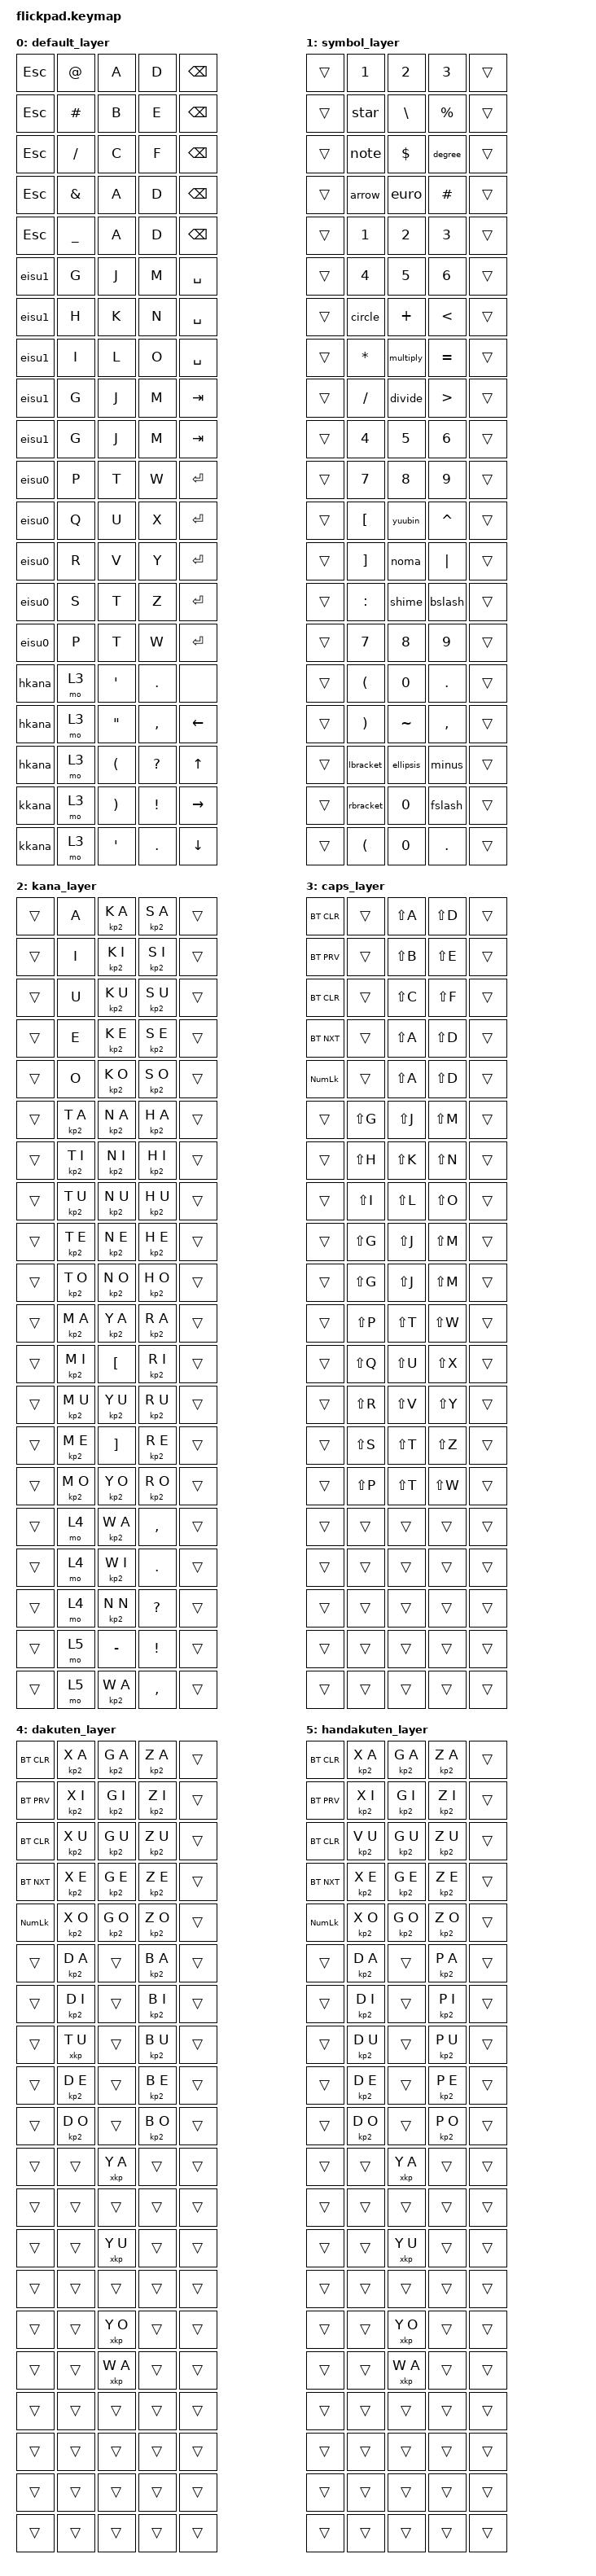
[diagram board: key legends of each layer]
#include <behaviors.dtsi>
#include <dt-bindings/zmk/keys.h>
#include <dt-bindings/zmk/bt.h>

/ {
    macros {
        ZMK_MACRO(hkana,
            bindings = <&to 2 &kp LC(CAPS)>;
        )

        ZMK_MACRO(kkana,
            bindings = <&to 2 &kp LA(CAPS)>;
        )

        ZMK_MACRO(eisu0,
            bindings = <&to 0 &kp LC(CAPS) &kp LS(CAPS)>;
        )

        ZMK_MACRO(eisu1,
            bindings = <&to 1 &kp LC(CAPS)>;
        )

        kp2: kp2 {
            compatible = "zmk,behavior-macro-two-param";
            tap-ms = <40>;
            #binding-cells = <2>;
            bindings
                = <&macro_param_1to1>
                , <&kp MACRO_PLACEHOLDER>
                , <&macro_param_2to1>
		, <&kp MACRO_PLACEHOLDER>;
        };

        xkp: xkp {
            compatible = "zmk,behavior-macro-two-param";
            tap-ms = <40>;
            #binding-cells = <2>;
            bindings
                = <&kp X>
		, <&macro_param_1to1>
                , <&kp MACRO_PLACEHOLDER>
                , <&macro_param_2to1>
		, <&kp MACRO_PLACEHOLDER>;
        };

        ZMK_MACRO(star,
            wait-ms = <40>;
            tap-ms = <40>;
            bindings
                = <&macro_press   &kp LALT>
                , <&macro_tap     &kp KP_N9 &kp KP_N7 &kp KP_N3 &kp KP_N3>
                , <&macro_release &kp LALT>
                ;
        )

        ZMK_MACRO(note,
            wait-ms = <40>;
            tap-ms = <40>;
            bindings
                = <&macro_press   &kp LALT>
                , <&macro_tap     &kp KP_N1 &kp KP_N3>
                , <&macro_release &kp LALT>
                ;
        )

        ZMK_MACRO(arrow,
            wait-ms = <40>;
            tap-ms = <40>;
            bindings
                = <&macro_press   &kp LALT>
                , <&macro_tap     &kp KP_N2 &kp KP_N6>
                , <&macro_release &kp LALT>
                ;
        )

        ZMK_MACRO(euro,
            wait-ms = <40>;
            tap-ms = <40>;
            bindings
                = <&macro_press   &kp LALT>
                , <&macro_tap     &kp KP_N0 &kp KP_N1 &kp KP_N2 &kp KP_N8>
                , <&macro_release &kp LALT>
                ;
        )

        ZMK_MACRO(degree,
            wait-ms = <40>;
            tap-ms = <40>;
            bindings
                = <&macro_press   &kp LALT>
                , <&macro_tap     &kp KP_N0 &kp KP_N1 &kp KP_N7 &kp KP_N6>
                , <&macro_release &kp LALT>
                ;
        )

        ZMK_MACRO(circle,
            wait-ms = <40>;
            tap-ms = <40>;
            bindings
                = <&macro_press   &kp LALT>
                , <&macro_tap     &kp KP_N9>
                , <&macro_release &kp LALT>
                ;
        )

        ZMK_MACRO(multiply,
            wait-ms = <40>;
            tap-ms = <40>;
            bindings
                = <&macro_press   &kp LALT>
                , <&macro_tap     &kp KP_N0 &kp KP_N2 &kp KP_N1 &kp KP_N5>
                , <&macro_release &kp LALT>
                ;
        )

        ZMK_MACRO(divide,
            wait-ms = <40>;
            tap-ms = <40>;
            bindings
                = <&macro_press   &kp LALT>
                , <&macro_tap     &kp KP_N0 &kp KP_N2 &kp KP_N4 &kp KP_N7>
                , <&macro_release &kp LALT>
                ;
        )

        ZMK_MACRO(yuubin,
            wait-ms = <40>;
            tap-ms = <40>;
            bindings = <&kp Y &kp U &kp U &kp B &kp I &kp N &kp N &kp SPACE>;
        )

        ZMK_MACRO(noma,
            wait-ms = <40>;
            tap-ms = <40>;
            bindings = <&kp O &kp N &kp A &kp J &kp I &kp SPACE>;
        )

        ZMK_MACRO(shime,
            wait-ms = <40>;
            tap-ms = <40>;
            bindings = <&kp S &kp H &kp I &kp M &kp E &kp SPACE>;
        )

        ZMK_MACRO(bslash,
            wait-ms = <40>;
            tap-ms = <40>;
            bindings
                = <&macro_press   &kp LALT>
                , <&macro_tap     &kp KP_N9 &kp KP_N2>
                , <&macro_release &kp LALT>
                ;
        )

        ZMK_MACRO(lbracket,
            wait-ms = <40>;
            tap-ms = <40>;
            bindings
                = <&macro_press   &kp LALT>
                , <&macro_tap     &kp KP_N9 &kp KP_N1>
                , <&macro_release &kp LALT>
                ;
        )

        ZMK_MACRO(rbracket,
            wait-ms = <40>;
            tap-ms = <40>;
            bindings
                = <&macro_press   &kp LALT>
                , <&macro_tap     &kp KP_N9 &kp KP_N3>
                , <&macro_release &kp LALT>
                ;
        )

        ZMK_MACRO(ellipsis,
            wait-ms = <40>;
            tap-ms = <40>;
            bindings
                = <&macro_press   &kp LALT>
                , <&macro_tap     &kp KP_N0 &kp KP_N1 &kp KP_N3 &kp KP_N3>
                , <&macro_release &kp LALT>
                ;
        )

        ZMK_MACRO(minus,
            wait-ms = <40>;
            tap-ms = <40>;
            bindings
                = <&macro_press   &kp LALT>
                , <&macro_tap     &kp KP_N4 &kp KP_N5>
                , <&macro_release &kp LALT>
                ;
        )

        ZMK_MACRO(fslash,
            wait-ms = <40>;
            tap-ms = <40>;
            bindings
                = <&macro_press   &kp LALT>
                , <&macro_tap     &kp KP_N4 &kp KP_N7>
                , <&macro_release &kp LALT>
                ;
        )
    };

    keymap {
        compatible = "zmk,keymap";

        default_layer {
            // -----------------------------------
            // |   ESC |   @ |   A |   D |  BSPC |
            // |   ESC |   # |   B |   E |  BSPC | <
            // |   ESC |   / |   C |   F |  BSPC | ^
            // |   ESC |   & |     |     |  BSPC | >
            // |   ESC |   _ |     |     |  BSPC | V
            // -----------------------------------
            // | EISU1 |   G |   J |   M | SPACE |
            // | EISU1 |   H |   K |   N | SPACE | <
            // | EISU1 |   I |   L |   O | SPACE | ^
            // | EISU1 |     |     |     |   TAB | >
            // | EISU1 |     |     |     |   TAB | V
            // -----------------------------------
            // | EISU0 |   P |   T |   W | ENTER |
            // | EISU0 |   Q |   U |   X | ENTER | <
            // | EISU0 |   R |   V |   Y | ENTER | ^
            // | EISU0 |   S |     |   Z | ENTER | >
            // | EISU0 |     |     |     | ENTER | V
            // -----------------------------------
            // | HKANA |   3 |   ' |   . |       |
            // | HKANA |   3 |   " |   , |  LEFT | <
            // | HKANA |   3 |   ( |   ? |    UP | ^
            // | KKANA |   4 |   ) |   ! | RIGHT | >
            // | KKANA |   4 |     |     |  DOWN | V
            // -----------------------------------
            bindings = <
                &kp ESC   &kp AT    &kp A     &kp D     &kp BSPC
                &kp ESC   &kp POUND &kp B     &kp E     &kp BSPC
                &kp ESC   &kp FSLH  &kp C     &kp F     &kp BSPC
                &kp ESC   &kp AMPS  &kp A     &kp D     &kp BSPC
                &kp ESC   &kp UNDER &kp A     &kp D     &kp BSPC

                &eisu1    &kp G     &kp J     &kp M     &kp SPACE
                &eisu1    &kp H     &kp K     &kp N     &kp SPACE
                &eisu1    &kp I     &kp L     &kp O     &kp SPACE
                &eisu1    &kp G     &kp J     &kp M     &kp TAB
                &eisu1    &kp G     &kp J     &kp M     &kp TAB

                &eisu0    &kp P     &kp T     &kp W     &kp RET
                &eisu0    &kp Q     &kp U     &kp X     &kp RET
                &eisu0    &kp R     &kp V     &kp Y     &kp RET
                &eisu0    &kp S     &kp T     &kp Z     &kp RET
                &eisu0    &kp P     &kp T     &kp W     &kp RET

                &hkana    &mo 3     &kp SQT   &kp DOT   &none
                &hkana    &mo 3     &kp DQT   &kp COMMA &kp LEFT
                &hkana    &mo 3     &kp LPAR  &kp QMARK &kp UP
                &kkana    &mo 3     &kp RPAR  &kp EXCL  &kp RIGHT
                &kkana    &mo 3     &kp SQT   &kp DOT   &kp DOWN
            >;
        };

        symbol_layer {
            // -----------------------------------
            // |   ESC |   1 |   2 |   3 |  BSPC |
            // |   ESC | STR | YEN |   % |  BSPC | <
            // |   ESC | NOT |   $ | DEG |  BSPC | ^
            // |   ESC |  -> | EUR |   # |  BSPC | >
            // |   ESC |     |     |     |  BSPC | V
            // -----------------------------------
            // | EISU1 |   4 |   5 |   6 | SPACE |
            // | EISU1 |   O |   + |   < | SPACE | <
            // | EISU1 |   * |   x |   = | SPACE | ^
            // | EISU1 |   . | DIV |   > |   TAB | >
            // | EISU1 |     |     |     |   TAB | V
            // -----------------------------------
            // | EISU0 |   7 |   8 |   9 | ENTER |
            // | EISU0 |   [ |   T |   ^ | ENTER | <
            // | EISU0 |   ] | NMA |   | | ENTER | ^
            // | EISU0 |   : | SME |   \ | ENTER | >
            // | EISU0 |     |     |     | ENTER | V
            // -----------------------------------
            // | HKANA |   ( |   0 |   . |       |
            // | HKANA |   ) |   ~ |   , |  LEFT | <
            // | HKANA |   [ | ... |   - |    UP | ^
            // | KKANA |   ] |     |   / | RIGHT | >
            // | KKANA |     |     |     |  DOWN | V
            // -----------------------------------
            bindings = <
                &trans    &kp N1    &kp N2    &kp N3    &trans
                &trans    &star     &kp BSLH  &kp PRCNT &trans
                &trans    &note     &kp DLLR  &degree   &trans
                &trans    &arrow    &euro     &kp POUND &trans
                &trans    &kp N1    &kp N2    &kp N3    &trans

                &trans    &kp N4    &kp N5    &kp N6    &trans
                &trans    &circle   &kp PLUS  &kp LT    &trans
                &trans    &kp STAR  &multiply &kp EQUAL &trans
                &trans    &kp FSLH  &divide   &kp GT    &trans
                &trans    &kp N4    &kp N5    &kp N6    &trans

                &trans    &kp N7    &kp N8    &kp N9    &trans
                &trans    &kp LBKT  &yuubin   &kp CARET &trans
                &trans    &kp RBKT  &noma     &kp PIPE  &trans
                &trans    &kp COLON &shime    &bslash   &trans
                &trans    &kp N7    &kp N8    &kp N9    &trans

                &trans    &kp LPAR  &kp N0    &kp DOT   &trans
                &trans    &kp RPAR  &kp TILDE &kp COMMA &trans
                &trans    &lbracket &ellipsis &minus    &trans
                &trans    &rbracket &kp N0    &fslash   &trans
                &trans    &kp LPAR  &kp N0    &kp DOT   &trans
            >;
        };

        kana_layer {
            // -----------------------------------
            // |   ESC |   A |  KA |  SA |  BSPC |
            // |   ESC |   I |  KI | SHI |  BSPC | <
            // |   ESC |   U |  KU |  SU |  BSPC | ^
            // |   ESC |   E |  KE |  SE |  BSPC | >
            // |   ESC |   O |  KO |  SO |  BSPC | V
            // -----------------------------------
            // | EISU1 |  TA |  NA |  HA | SPACE |
            // | EISU1 | CHI |  NI |  HI | SPACE | <
            // | EISU1 | TSU |  NU |  FU | SPACE | ^
            // | EISU1 |  TE |  NE |  HE |   TAB | >
            // | EISU1 |  TO |  NO |  HO |   TAB | V
            // -----------------------------------
            // | EISU0 |  MA |  YA |  RA | ENTER |
            // | EISU0 |  MI |   [ |  RI | ENTER | <
            // | EISU0 |  MU |  YU |  RU | ENTER | ^
            // | EISU0 |  ME |   ] |  RE | ENTER | >
            // | EISU0 |  MO |  YO |  RO | ENTER | V
            // -----------------------------------
            // | HKANA |   3 |  WA |   , |       |
            // | HKANA |   3 |  WO |   . |  LEFT | <
            // | HKANA |   3 |   N |   ? |    UP | ^
            // | KKANA |   4 |   - |   ! | RIGHT | >
            // | KKANA |   4 |     |     |  DOWN | V
            // -----------------------------------
            bindings = <
                &trans    &kp A     &kp2 K A  &kp2 S A  &trans
                &trans    &kp I     &kp2 K I  &kp2 S I  &trans
                &trans    &kp U     &kp2 K U  &kp2 S U  &trans
                &trans    &kp E     &kp2 K E  &kp2 S E  &trans
                &trans    &kp O     &kp2 K O  &kp2 S O  &trans

                &trans    &kp2 T A  &kp2 N A  &kp2 H A  &trans
                &trans    &kp2 T I  &kp2 N I  &kp2 H I  &trans
                &trans    &kp2 T U  &kp2 N U  &kp2 H U  &trans
                &trans    &kp2 T E  &kp2 N E  &kp2 H E  &trans
                &trans    &kp2 T O  &kp2 N O  &kp2 H O  &trans

                &trans    &kp2 M A  &kp2 Y A  &kp2 R A  &trans
                &trans    &kp2 M I  &kp LBKT  &kp2 R I  &trans
                &trans    &kp2 M U  &kp2 Y U  &kp2 R U  &trans
                &trans    &kp2 M E  &kp RBKT  &kp2 R E  &trans
                &trans    &kp2 M O  &kp2 Y O  &kp2 R O  &trans

                &trans    &mo 4     &kp2 W A  &kp COMMA &trans
                &trans    &mo 4     &kp2 W I  &kp DOT   &trans
                &trans    &mo 4     &kp2 N N  &kp QMARK &trans
                &trans    &mo 5     &kp MINUS &kp EXCL  &trans
                &trans    &mo 5     &kp2 W A  &kp COMMA &trans
            >;
        };

        caps_layer {
            bindings = <
                &bt BT_CLR &trans   &kp LS(A) &kp LS(D) &trans
                &bt BT_PRV &trans   &kp LS(B) &kp LS(E) &trans
                &bt BT_CLR &trans   &kp LS(C) &kp LS(F) &trans
                &bt BT_NXT &trans   &kp LS(A) &kp LS(D) &trans
                &kp KP_NUM &trans   &kp LS(A) &kp LS(D) &trans

                &trans    &kp LS(G) &kp LS(J) &kp LS(M) &trans
                &trans    &kp LS(H) &kp LS(K) &kp LS(N) &trans
                &trans    &kp LS(I) &kp LS(L) &kp LS(O) &trans
                &trans    &kp LS(G) &kp LS(J) &kp LS(M) &trans
                &trans    &kp LS(G) &kp LS(J) &kp LS(M) &trans

                &trans    &kp LS(P) &kp LS(T) &kp LS(W) &trans
                &trans    &kp LS(Q) &kp LS(U) &kp LS(X) &trans
                &trans    &kp LS(R) &kp LS(V) &kp LS(Y) &trans
                &trans    &kp LS(S) &kp LS(T) &kp LS(Z) &trans
                &trans    &kp LS(P) &kp LS(T) &kp LS(W) &trans

                &trans    &trans    &trans    &trans    &trans
                &trans    &trans    &trans    &trans    &trans
                &trans    &trans    &trans    &trans    &trans
                &trans    &trans    &trans    &trans    &trans
                &trans    &trans    &trans    &trans    &trans
            >;
        };

        dakuten_layer {
            bindings = <
                &bt BT_CLR &kp2 X A &kp2 G A  &kp2 Z A  &trans
                &bt BT_PRV &kp2 X I &kp2 G I  &kp2 Z I  &trans
                &bt BT_CLR &kp2 X U &kp2 G U  &kp2 Z U  &trans
                &bt BT_NXT &kp2 X E &kp2 G E  &kp2 Z E  &trans
                &kp KP_NUM &kp2 X O &kp2 G O  &kp2 Z O  &trans

                &trans    &kp2 D A  &trans    &kp2 B A  &trans
                &trans    &kp2 D I  &trans    &kp2 B I  &trans
                &trans    &xkp T U  &trans    &kp2 B U  &trans
                &trans    &kp2 D E  &trans    &kp2 B E  &trans
                &trans    &kp2 D O  &trans    &kp2 B O  &trans

                &trans    &trans    &xkp Y A  &trans    &trans
                &trans    &trans    &trans    &trans    &trans
                &trans    &trans    &xkp Y U  &trans    &trans
                &trans    &trans    &trans    &trans    &trans
                &trans    &trans    &xkp Y O  &trans    &trans

                &trans    &trans    &xkp W A  &trans    &trans
                &trans    &trans    &trans    &trans    &trans
                &trans    &trans    &trans    &trans    &trans
                &trans    &trans    &trans    &trans    &trans
                &trans    &trans    &trans    &trans    &trans
            >;
        };

        handakuten_layer {
            bindings = <
                &bt BT_CLR &kp2 X A &kp2 G A  &kp2 Z A  &trans
                &bt BT_PRV &kp2 X I &kp2 G I  &kp2 Z I  &trans
                &bt BT_CLR &kp2 V U &kp2 G U  &kp2 Z U  &trans
                &bt BT_NXT &kp2 X E &kp2 G E  &kp2 Z E  &trans
                &kp KP_NUM &kp2 X O &kp2 G O  &kp2 Z O  &trans

                &trans    &kp2 D A  &trans    &kp2 P A  &trans
                &trans    &kp2 D I  &trans    &kp2 P I  &trans
                &trans    &kp2 D U  &trans    &kp2 P U  &trans
                &trans    &kp2 D E  &trans    &kp2 P E  &trans
                &trans    &kp2 D O  &trans    &kp2 P O  &trans

                &trans    &trans    &xkp Y A  &trans    &trans
                &trans    &trans    &trans    &trans    &trans
                &trans    &trans    &xkp Y U  &trans    &trans
                &trans    &trans    &trans    &trans    &trans
                &trans    &trans    &xkp Y O  &trans    &trans

                &trans    &trans    &xkp W A  &trans    &trans
                &trans    &trans    &trans    &trans    &trans
                &trans    &trans    &trans    &trans    &trans
                &trans    &trans    &trans    &trans    &trans
                &trans    &trans    &trans    &trans    &trans
            >;
        };
    };
};
